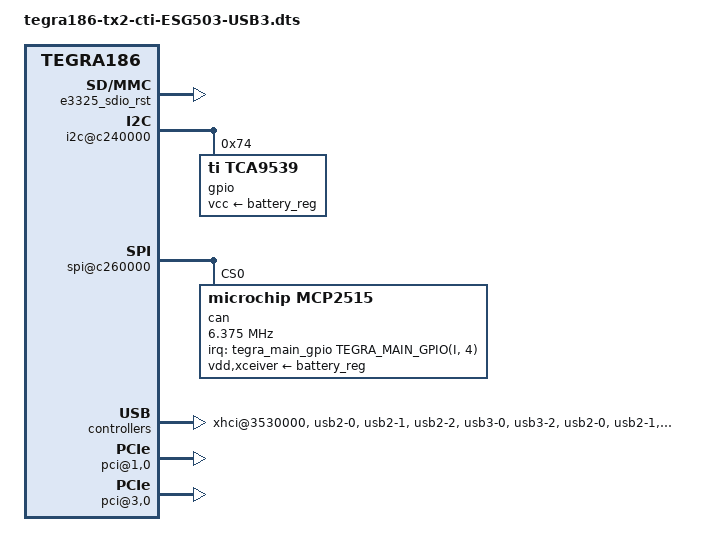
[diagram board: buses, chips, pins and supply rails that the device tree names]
#include "tegra186-tx2-cti-base.dts"

/{
    nvidia,dtsfilename = "tegra186-tx2-cti-ESG503-USB3.dts";

    gpio@2200000 {
    /*enable this to enabled PCIe Controller #2*/
        pcie0_lane2_mux {
             status = "disabled";
        };
    /******************************************/
    /*enable these two to enable USB3 Port 0*/
        e3325_sdio_rst {
           status = "okay";
        };
        e3325_lane0_mux {
            status = "okay";
        };
    /******************************************/

    };
    i2c@3160000 {

        gpio@74{
            status = "disabled";


        };
        gpio@77{
            status = "disabled";

        };

    };

    i2c@c240000{
        #address-cells = <1>;
        #size-cells = <0>;

        gpio@74{
            compatible = "ti,tca9539";
            reg = <0x74>;
            gpio-controller;
            #gpio-cells = <0x2>;
            vcc-supply = <&battery_reg>;
            status = "okay";
         };

    };
    spi@c260000 {
        status = "okay";
        /delete-node/ spi-touch-sharp19x12@0;
        can@0 {
            status = "okay";
            compatible = "microchip,mcp2515";
            reg = <0>;
            clocks = <&can_clock>;
            interrupt-parent = <&tegra_main_gpio>;
                /* the first cell defines the
                    index of the interrupt within the controller, while the second cell is used
                    to specify any of the following flags:
                    - bits[3:0] trigger type and level flags
                    1 = low-to-high edge triggered
                    2 = high-to-low edge triggered
                    4 = active high level-sensitive
                    8 = active low level-sensitive
                */
          interrupts = <TEGRA_MAIN_GPIO(I, 4) 0x2>;
          vdd-supply = <&battery_reg>;
          xceiver-supply = <&battery_reg>;
          spi-max-frequency=<6375000>;
       };
    };



    xhci@3530000 {
        status = "okay";
        phys = <&{/xusb_padctl@3520000/pads/usb2/lanes/usb2-0}>,
            <&{/xusb_padctl@3520000/pads/usb2/lanes/usb2-1}>,
            <&{/xusb_padctl@3520000/pads/usb2/lanes/usb2-2}>,
            <&{/xusb_padctl@3520000/pads/usb3/lanes/usb3-0}>,
            <&{/xusb_padctl@3520000/pads/usb3/lanes/usb3-2}>;
        phy-names = "usb2-0", "usb2-1", "usb2-2", "usb3-0", "usb3-2";
    };


   xusb_padctl@3520000 {
        pads {
            usb2 {
                lanes {
                    usb2-0 {
                        status = "okay";
                    };
                    usb2-1 {
                        status = "okay";
                    };
                    usb2-2 {
                        status = "okay";
                    };
                };
            };
            usb3 {
                lanes {
                    usb3-0 {
                        status = "okay";
                    };
                    usb3-1 {
                        
                        status = "disabled";
                    };
                    usb3-2 {
                        status = "okay";
                    };
                };
            };
        };
        ports {
            usb2-0 {
                status = "okay";
            };
            usb2-1 {
                status = "okay";
            };

            usb2-2 {
                status = "okay";
            };

            usb3-0 {
                nvidia,usb2-companion = <0>;
                status = "okay";
            };
            usb3-1 {
                nvidia,usb2-companion = <1>;
                status = "disabled";
            };
            usb3-2 {
                nvidia,usb2-companion = <2>;
                status = "okay";
            };
        };
    };
    pinctrl@3520000 {
        status = "okay";
           pinmux {
            usb2-port0 {
                status = "okay";
            };
            usb2-port1 {
                status = "okay";
            };

            usb2-port2 {
                status = "okay";
            };

            usb3-port0 {
                status = "okay";
            };

            usb3-port1 {
                status = "disabled";
            };

            usb3-port2 {
                status = "okay";
            };
        };
    };
    pcie-controller@10003000 {
        pci@1,0 {
            nvidia,num-lanes = <1>;
            status = "okay";
        };
        pci@2,0 {
            nvidia,num-lanes = <0>;
            status = "disabled";
        };
        pci@3,0 {
            nvidia,num-lanes = <1>;
            status = "okay";
        };
    };


};
